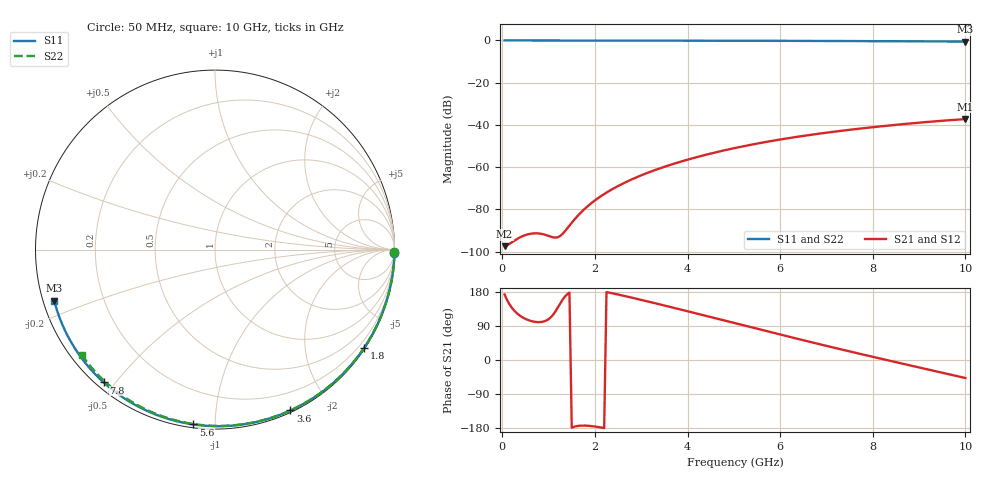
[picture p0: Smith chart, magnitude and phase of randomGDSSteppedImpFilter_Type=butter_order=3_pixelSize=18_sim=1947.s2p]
! freq	dB(S11)	phase(S11)	dB(S12)	phase(S12)
!  dB(S21)	phase(S21)	dB(S22)	phase(S22)
!S-par simulation data
#  GHz  S  DB  R 50
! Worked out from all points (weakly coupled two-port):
!   200 points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, 50 MHz to 10 GHz, reference 50 ohm
!   highest |S21| = -37.22 dB at 10 GHz (marker M1); lowest = -97.4 dB at 50 MHz (marker M2)
!   lowest |S11| = -0.5 dB at 10 GHz (marker M3), VSWR 32.24, Z = 1.59 - j7.73 ohm
!   |S11| at or under -10 dB: nowhere
!   |S22| runs from -0.5 to 0.0 dB; largest |S21 - S12| = 0
!   S11 on the Smith chart (normalised r, x): 50 MHz: open; 1.8 GHz: 0.03, -3.34; 3.6 GHz: 0.02, -1.57; 5.6 GHz: 0.02, -0.88; 7.8 GHz: 0.02, -0.47; 10 GHz: 0.03, -0.15
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0.05  -0.00 -0.9  -97.38 172.8  -97.38 172.8  -0.00 -0.8
0.45  -0.01 -8.5  -92.53 111.6  -92.53 111.6  -0.01 -7.4
0.85  -0.02 -15.9  -91.56 100.5  -91.56 100.5  -0.02 -13.9
1.3  -0.03 -24.3  -91.59 158.9  -91.59 158.9  -0.03 -21.1
1.75  -0.04 -32.5  -80.32 -173.0  -80.32 -173.0  -0.04 -28.3
1.8  -0.04 -33.4  -79.31 -173.2  -79.31 -173.2  -0.04 -29.1
1.95  -0.05 -36.1  -76.56 -174.7  -76.56 -174.7  -0.04 -31.5
2.1  -0.05 -38.8  -74.15 -177.4  -74.15 -177.4  -0.04 -33.8
2.45  -0.06 -45.0  -69.49 174.1  -69.49 174.1  -0.05 -39.3
2.9  -0.07 -52.9  -64.76 161.6  -64.76 161.6  -0.06 -46.2
3.4  -0.08 -61.5  -60.55 146.8  -60.55 146.8  -0.07 -53.8
3.6  -0.09 -64.9  -59.09 140.8  -59.09 140.8  -0.08 -56.8
4.3  -0.11 -76.5  -54.65 119.6  -54.65 119.6  -0.10 -67.0
5.05  -0.14 -88.5  -50.79 96.5  -50.79 96.5  -0.12 -77.7
5.6  -0.16 -97.1  -48.42 79.5  -48.42 79.5  -0.14 -85.3
6.15  -0.19 -105.5  -46.35 62.7  -46.35 62.7  -0.16 -92.7
6.7  -0.22 -113.8  -44.55 46.1  -44.55 46.1  -0.19 -100.0
7.25  -0.26 -121.9  -42.96 29.9  -42.96 29.9  -0.23 -107.1
7.8  -0.30 -129.9  -41.54 14.1  -41.54 14.1  -0.27 -114.2
8.35  -0.35 -138.0  -40.26 -1.5  -40.26 -1.5  -0.31 -121.1
9.2  -0.44 -150.4  -38.54 -25.2  -38.54 -25.2  -0.39 -131.8
10  -0.54 -162.4  -37.22 -47.6  -37.22 -47.6  -0.48 -141.8
